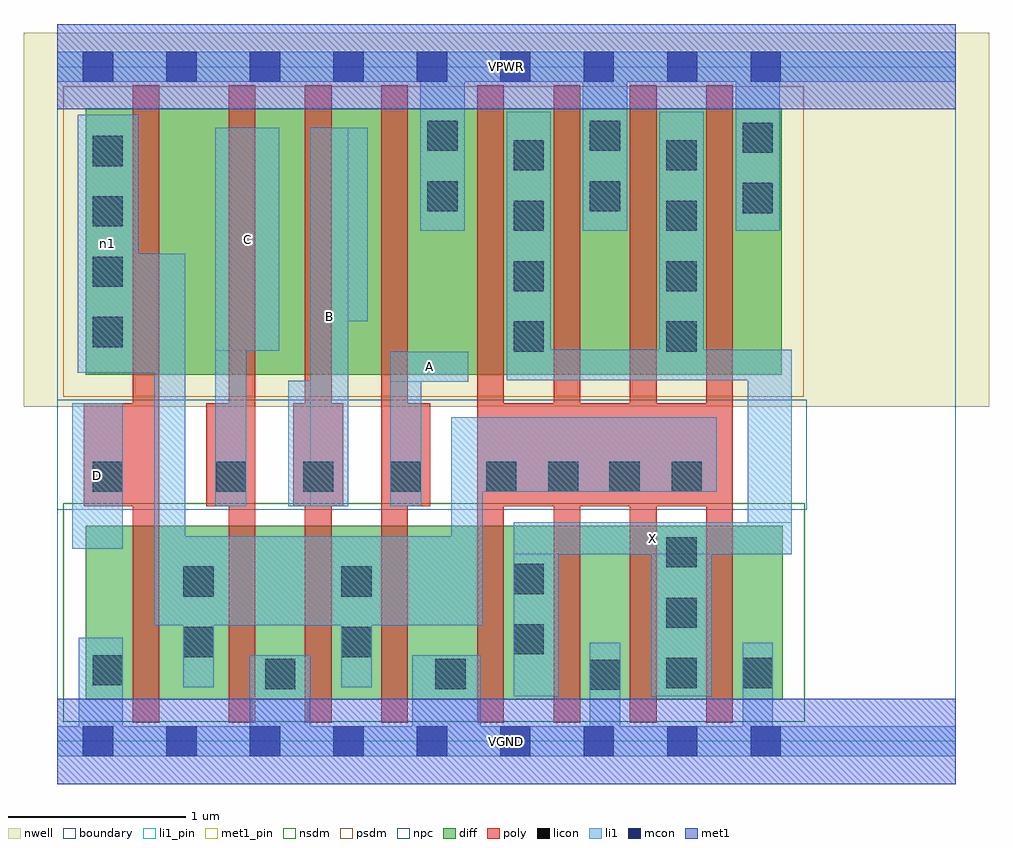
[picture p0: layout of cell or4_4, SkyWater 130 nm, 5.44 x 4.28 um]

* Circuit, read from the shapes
.subckt or4_4 A B C D VGND VPWR X n1
XM1 n1 D VGND VSUBS sky130_fd_pr__nfet_01v8 w=0.98 l=0.15
XM2 VGND C n1 VSUBS sky130_fd_pr__nfet_01v8 w=0.98 l=0.15
XM3 n1 B VGND VSUBS sky130_fd_pr__nfet_01v8 w=0.98 l=0.15
XM4 VGND A n1 VSUBS sky130_fd_pr__nfet_01v8 w=0.98 l=0.15
XM5 X n1 VGND VSUBS sky130_fd_pr__nfet_01v8 w=0.98 l=0.15 m=4
XM6 n2 D n1 n3 sky130_fd_pr__pfet_01v8 w=1.5 l=0.15
XM7 n4 C n2 n3 sky130_fd_pr__pfet_01v8 w=1.5 l=0.15
XM8 n5 B n4 n3 sky130_fd_pr__pfet_01v8 w=1.5 l=0.15
XM9 VPWR A n5 n3 sky130_fd_pr__pfet_01v8 w=1.5 l=0.15
XM10 X n1 VPWR n3 sky130_fd_pr__pfet_01v8 w=1.5 l=0.15 m=4
.ends

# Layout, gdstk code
import gdstk
lib = gdstk.Library(unit=1e-6, precision=1e-09)
def R(c, l, rs):  # rectangles x0, y0, x1, y1
    for r in rs: c.add(gdstk.rectangle(r[:2], r[2:], *l))
def A(c, l, x, y, w, h, nx, ny, dx, dy):  # array of equal rectangles
    R(c, l, [(x+i*dx, y+j*dy, x+i*dx+w, y+j*dy+h) for i in range(nx) for j in range(ny)])
nwell = (64, 20)
diff = (65, 20)
poly = (66, 20)
licon = (66, 44)
li1_pin = (67, 16)
li1 = (67, 20)
mcon = (67, 44)
met1_pin = (68, 16)
met1 = (68, 20)
nsdm = (93, 44)
psdm = (94, 20)
npc = (95, 20)
boundary = (235, 4)

or4_4 = lib.new_cell('or4_4')
R(or4_4, nwell, [(-0.19,1.885,5.25,3.99), (0,1.885,5.06,3.99)])
R(or4_4, diff, [(0.16,0.235,4.085,1.215), (0.16,2.065,4.08,3.565)])
A(or4_4, poly, 0.965, 0.105, 0.15, 3.59, 3, 1, 0.43, 0)
A(or4_4, poly, 2.365, 0.105, 0.15, 3.59, 4, 1, 0.43, 0)
R(or4_4, poly, [(0.425,0.105,0.575,3.695), (0.15,1.325,0.575,1.905), (0.84,1.325,1.115,1.905), (1.33,1.325,1.61,1.905), (1.825,1.325,2.1,1.905), (2.365,1.325,3.805,1.905)])
A(or4_4, licon, 3.43, 0.3, 0.17, 0.17, 1, 3, 0, 0.34)
A(or4_4, licon, 0.895, 1.405, 0.17, 0.17, 3, 1, 0.49, 0)
A(or4_4, licon, 2.57, 2.195, 0.17, 0.17, 1, 4, 0, 0.34)
A(or4_4, licon, 3.43, 2.195, 0.17, 0.17, 1, 4, 0, 0.34)
A(or4_4, licon, 0.2, 2.22, 0.17, 0.17, 1, 4, 0, 0.34)
R(or4_4, licon, [(3,0.29,3.17,0.46), (1.17,0.295,1.34,0.465), (2.13,0.295,2.3,0.465), (3.86,0.3,4.03,0.47), (0.2,0.315,0.37,0.485), (0.71,0.475,0.88,0.645), (1.6,0.475,1.77,0.645), (2.57,0.49,2.74,0.66), (0.71,0.815,0.88,0.985), (1.6,0.815,1.77,0.985), (2.57,0.83,2.74,1), (0.2,1.405,0.37,1.575), (2.415,1.405,2.585,1.575), (2.765,1.405,2.935,1.575), (3.11,1.405,3.28,1.575), (3.46,1.405,3.63,1.575), (3.86,2.975,4.03,3.145), (2.085,2.985,2.255,3.155), (3,2.985,3.17,3.155), (3.86,3.315,4.03,3.485), (2.085,3.325,2.255,3.495), (3,3.325,3.17,3.495)])
R(or4_4, li1_pin, [(2.57,1.055,4.135,1.235), (0.085,1.085,0.37,1.905), (1.425,1.325,1.64,3.455), (1.875,2.025,2.315,2.195), (0.89,2.2,1.25,3.455)])
R(or4_4, li1, [(0,-0.085,5.06,0.085), (0.12,-0.085,0.37,0.585), (1.085,-0.085,1.425,0.485), (2,-0.085,2.385,0.485), (3,-0.085,3.17,0.555), (3.86,-0.085,4.03,0.555), (2.57,0.255,2.825,1.235), (3.345,0.255,3.685,1.235), (0.71,0.305,0.88,1.155), (1.6,0.305,1.77,1.155), (0.545,0.655,2.395,1.155), (0.545,0.655,0.72,2.745), (2.22,0.655,2.395,1.825), (2.57,1.055,4.135,1.235), (3.89,1.055,4.135,2.205), (0.085,1.085,0.37,1.905), (0.89,1.325,1.065,3.455), (1.3,1.325,1.64,2.03), (1.425,1.325,1.64,3.455), (1.875,1.325,2.05,2.195), (2.22,1.405,3.715,1.825), (1.875,2.025,2.315,2.195), (2.53,2.035,4.135,2.205), (2.53,2.035,2.78,3.545), (3.39,2.035,3.64,3.545), (0.115,2.075,0.455,3.53), (0.115,2.075,0.72,2.745), (0.89,2.2,1.25,3.455), (1.425,2.365,1.75,3.455), (2.045,2.875,2.295,3.885), (2.96,2.875,3.21,3.885), (3.82,2.875,4.07,3.885), (0,3.715,5.06,3.885)])
A(or4_4, mcon, 0.145, -0.085, 0.17, 0.17, 9, 2, 0.47, 3.8)
R(or4_4, met1_pin, [(0,-0.24,5.06,0.24), (0,3.56,5.06,4.04)])
R(or4_4, met1, [(0,-0.24,5.06,0.24), (0,3.56,5.06,4.04)])
R(or4_4, nsdm, [(0.035,0.11,4.21,1.34)])
R(or4_4, psdm, [(0.035,1.94,4.205,3.69)])
R(or4_4, npc, [(0,1.305,4.22,1.925)])
R(or4_4, boundary, [(0,0,5.06,3.8)])
or4_4.add(gdstk.Label('A', (2.095,2.11), layer=67, texttype=5))
or4_4.add(gdstk.Label('B', (1.532,2.39), layer=67, texttype=5))
or4_4.add(gdstk.Label('C', (1.07,2.827), layer=67, texttype=5))
or4_4.add(gdstk.Label('D', (0.227,1.495), layer=67, texttype=5))
or4_4.add(gdstk.Label('X', (3.352,1.145), layer=67, texttype=5))
or4_4.add(gdstk.Label('n1', (0.285,2.802), layer=67, texttype=5))
or4_4.add(gdstk.Label('VPWR', (2.53,3.8), layer=68, texttype=5))
or4_4.add(gdstk.Label('VGND', (2.53,0), layer=68, texttype=5))
or4_4.add(gdstk.Label('A', (2.095,2.11), layer=67, texttype=16))
or4_4.add(gdstk.Label('B', (1.532,2.39), layer=67, texttype=16))
or4_4.add(gdstk.Label('C', (1.07,2.827), layer=67, texttype=16))
or4_4.add(gdstk.Label('D', (0.227,1.495), layer=67, texttype=16))
or4_4.add(gdstk.Label('X', (3.352,1.145), layer=67, texttype=16))
or4_4.add(gdstk.Label('VPWR', (2.53,3.8), layer=68, texttype=16))
or4_4.add(gdstk.Label('VGND', (2.53,0), layer=68, texttype=16))

lib.write_gds('or4_4.gds')
